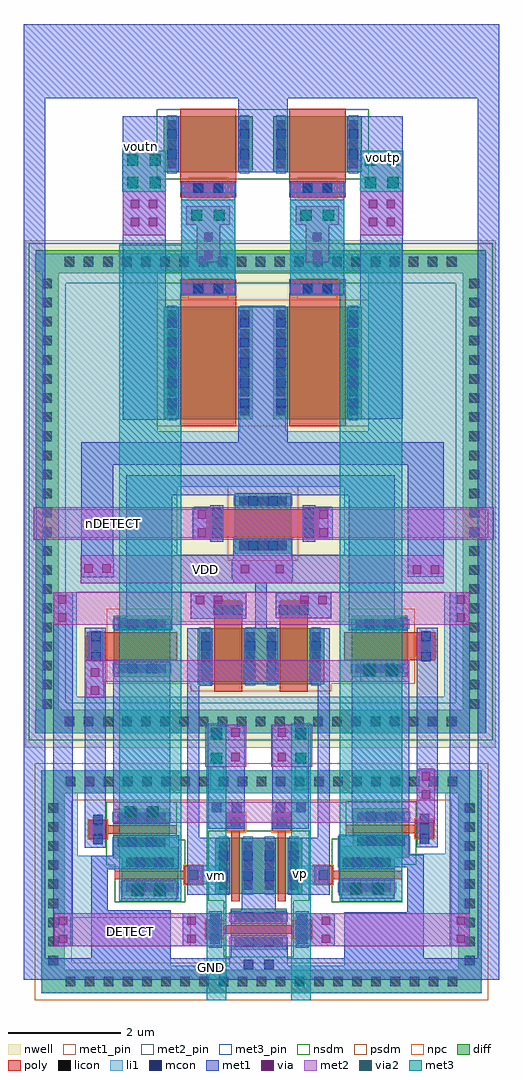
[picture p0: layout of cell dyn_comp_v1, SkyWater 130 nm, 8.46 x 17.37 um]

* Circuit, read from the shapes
.subckt dyn_comp_v1 DETECT GND VDD nDETECT vm voutn voutp vp
XM1 sky130_fd_pr__nfet_01v8_ML4XRG_6/D sky130_fd_pr__nfet_01v8_9ZWGZ9_1/D GND VSUBS sky130_fd_pr__nfet_01v8 w=1 l=0.15
XM2 GND sky130_fd_pr__pfet_01v8_KDZMJM_9/D sky130_fd_pr__nfet_01v8_ML4XRG_6/D VSUBS sky130_fd_pr__nfet_01v8 w=1 l=0.15
XM3 GND sky130_fd_pr__nfet_01v8_ML4XRG_6/D voutn VSUBS sky130_fd_pr__nfet_01v8 w=1 l=1
XM4 sky130_fd_pr__nfet_01v8_9ZWGZ9_2/D DETECT GND VSUBS sky130_fd_pr__nfet_01v8 w=1 l=0.15
XM5 sky130_fd_pr__nfet_01v8_9ZWGZ9_2/D vm sky130_fd_pr__pfet_01v8_KDZMJM_9/D VSUBS sky130_fd_pr__nfet_01v8 w=1 l=0.15
XM6 sky130_fd_pr__nfet_01v8_9ZWGZ9_3/D vp sky130_fd_pr__nfet_01v8_9ZWGZ9_2/D VSUBS sky130_fd_pr__nfet_01v8 w=1 l=0.15
XM7 voutp sky130_fd_pr__nfet_01v8_9ZWGZ9_1/D GND VSUBS sky130_fd_pr__nfet_01v8 w=1 l=1
XM8 GND sky130_fd_pr__nfet_01v8_9ZWGZ9_3/D sky130_fd_pr__nfet_01v8_9ZWGZ9_1/D VSUBS sky130_fd_pr__nfet_01v8 w=1 l=0.15
XM9 sky130_fd_pr__nfet_01v8_9ZWGZ9_1/D sky130_fd_pr__nfet_01v8_ML4XRG_6/D GND VSUBS sky130_fd_pr__nfet_01v8 w=1 l=0.15
XM10 sky130_fd_pr__pfet_01v8_KDZMJM_8/D sky130_fd_pr__nfet_01v8_9ZWGZ9_1/D sky130_fd_pr__nfet_01v8_ML4XRG_6/D n1 sky130_fd_pr__pfet_01v8 w=1 l=0.5
XM11 VDD sky130_fd_pr__nfet_01v8_ML4XRG_6/D voutn n1 sky130_fd_pr__pfet_01v8 w=2 l=1
XM12 VDD DETECT sky130_fd_pr__pfet_01v8_KDZMJM_9/D n1 sky130_fd_pr__pfet_01v8 w=1 l=0.5
XM13 sky130_fd_pr__pfet_01v8_KDZMJM_8/D nDETECT VDD n1 sky130_fd_pr__pfet_01v8 w=1 l=0.5
XM14 sky130_fd_pr__nfet_01v8_9ZWGZ9_3/D DETECT VDD n1 sky130_fd_pr__pfet_01v8 w=1 l=0.5
XM15 voutp sky130_fd_pr__nfet_01v8_9ZWGZ9_1/D VDD n1 sky130_fd_pr__pfet_01v8 w=2 l=1
XM16 sky130_fd_pr__pfet_01v8_KDZMJM_8/D sky130_fd_pr__nfet_01v8_ML4XRG_6/D sky130_fd_pr__nfet_01v8_9ZWGZ9_1/D n1 sky130_fd_pr__pfet_01v8 w=1 l=0.5
.ends

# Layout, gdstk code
from math import pi, radians
import gdstk
lib = gdstk.Library(unit=1e-6, precision=1e-09)
def R(c, l, rs):  # rectangles x0, y0, x1, y1
    for r in rs: c.add(gdstk.rectangle(r[:2], r[2:], *l))
def A(c, l, x, y, w, h, nx, ny, dx, dy):  # array of equal rectangles
    R(c, l, [(x+i*dx, y+j*dy, x+i*dx+w, y+j*dy+h) for i in range(nx) for j in range(ny)])
nwell = (64, 20)
diff = (65, 20)
poly = (66, 20)
licon = (66, 44)
li1 = (67, 20)
mcon = (67, 44)
met1_pin = (68, 16)
met1 = (68, 20)
via = (68, 44)
met2_pin = (69, 16)
met2 = (69, 20)
via2 = (69, 44)
met3_pin = (70, 16)
met3 = (70, 20)
nsdm = (93, 44)
psdm = (94, 20)
npc = (95, 20)

l1m1_cdns_776882829085 = lib.new_cell('L1M1_CDNS_776882829085')
R(l1m1_cdns_776882829085, li1, [(-0.265,-0.085,0.265,0.085)])
R(l1m1_cdns_776882829085, mcon, [(-0.265,-0.085,-0.095,0.085), (0.095,-0.085,0.265,0.085)])
R(l1m1_cdns_776882829085, met1, [(-0.325,-0.115,0.325,0.115)])

sky130_fd_pr__nfet_01v8_ = lib.new_cell('sky130_fd_pr__nfet_01v8_9ZAZEB')
R(sky130_fd_pr__nfet_01v8_, diff, [(-0.365,-0.5,0.365,0.5)])
R(sky130_fd_pr__nfet_01v8_, poly, [(-0.165,-0.94,0.165,-0.61), (-0.075,-0.61,0.075,0.61), (-0.165,0.61,0.165,0.94)])
A(sky130_fd_pr__nfet_01v8_, licon, -0.305, -0.425, 0.17, 0.17, 1, 3, 0, 0.34)
A(sky130_fd_pr__nfet_01v8_, licon, 0.135, -0.425, 0.17, 0.17, 1, 3, 0, 0.34)
R(sky130_fd_pr__nfet_01v8_, licon, [(-0.085,-0.86,0.085,-0.69), (-0.085,0.69,0.085,0.86)])
R(sky130_fd_pr__nfet_01v8_, li1, [(-0.165,-0.86,0.165,-0.69), (-0.305,-0.52,-0.135,0.52), (0.135,-0.52,0.305,0.52), (-0.165,0.69,0.165,0.86)])
R(sky130_fd_pr__nfet_01v8_, mcon, [(-0.305,-0.265,-0.135,-0.095), (0.135,-0.265,0.305,-0.095), (-0.305,0.095,-0.135,0.265), (0.135,0.095,0.305,0.265)])
R(sky130_fd_pr__nfet_01v8_, met1, [(-0.295,-1.355,0.285,-0.735), (-0.145,-0.89,0.145,-0.66), (-0.335,-0.5,-0.105,0.5), (0.105,-0.5,0.335,0.5), (-0.145,0.66,0.145,0.89), (-0.295,0.755,0.285,1.355)])
R(sky130_fd_pr__nfet_01v8_, nsdm, [(-0.49,-0.625,0.49,0.625)])
R(sky130_fd_pr__nfet_01v8_, npc, [(-0.185,-0.96,0.185,-0.59), (-0.185,0.59,0.185,0.96)])
sky130_fd_pr__nfet_01v8_.add(gdstk.Reference(l1m1_cdns_776882829085, (0,-0.775)))
sky130_fd_pr__nfet_01v8_.add(gdstk.Reference(l1m1_cdns_776882829085, (0,0.775)))
sky130_fd_pr__nfet_01v8_.add(gdstk.Label('G', (0,0.775), layer=67, texttype=5))
sky130_fd_pr__nfet_01v8_.add(gdstk.Label('S', (0.22,0), layer=67, texttype=5))
sky130_fd_pr__nfet_01v8_.add(gdstk.Label('D', (-0.22,0), layer=67, texttype=5))

c_sky130_fd_pr__nfet_01v8_ = lib.new_cell('sky130_fd_pr__nfet_01v8_9ZWGZ9')
R(c_sky130_fd_pr__nfet_01v8_, diff, [(-0.365,-0.655,0.365,0.345)])
R(c_sky130_fd_pr__nfet_01v8_, poly, [(-0.075,-0.785,0.075,0.455), (-0.165,0.455,0.165,0.785)])
A(c_sky130_fd_pr__nfet_01v8_, licon, -0.305, -0.58, 0.17, 0.17, 1, 3, 0, 0.34)
A(c_sky130_fd_pr__nfet_01v8_, licon, 0.135, -0.58, 0.17, 0.17, 1, 3, 0, 0.34)
R(c_sky130_fd_pr__nfet_01v8_, licon, [(-0.085,0.535,0.085,0.705)])
R(c_sky130_fd_pr__nfet_01v8_, li1, [(-0.305,-0.675,-0.135,0.365), (0.135,-0.675,0.305,0.365), (-0.165,0.535,0.165,0.705)])
R(c_sky130_fd_pr__nfet_01v8_, mcon, [(-0.305,-0.42,-0.135,-0.25), (0.135,-0.42,0.305,-0.25), (-0.305,-0.06,-0.135,0.11), (0.135,-0.06,0.305,0.11)])
R(c_sky130_fd_pr__nfet_01v8_, met1, [(-0.335,-0.655,-0.105,0.345), (0.105,-0.655,0.335,0.345), (-0.145,0.505,0.145,0.735)])
R(c_sky130_fd_pr__nfet_01v8_, nsdm, [(-0.49,-0.78,0.49,0.47)])
R(c_sky130_fd_pr__nfet_01v8_, npc, [(-0.185,0.435,0.185,0.805)])
c_sky130_fd_pr__nfet_01v8_.add(gdstk.Label('G', (0,0.62), layer=67, texttype=5))
c_sky130_fd_pr__nfet_01v8_.add(gdstk.Label('S', (0.22,-0.155), layer=67, texttype=5))
c_sky130_fd_pr__nfet_01v8_.add(gdstk.Label('D', (-0.22,-0.155), layer=67, texttype=5))

l1m1_cdns_776882829086 = lib.new_cell('L1M1_CDNS_776882829086')
R(l1m1_cdns_776882829086, li1, [(-0.085,-0.085,0.085,0.085)])
R(l1m1_cdns_776882829086, mcon, [(-0.085,-0.085,0.085,0.085)])
R(l1m1_cdns_776882829086, met1, [(-0.145,-0.115,0.145,0.115)])

c_sky130_fd_pr__nfet_01v8__ = lib.new_cell('sky130_fd_pr__nfet_01v8_ML4XRG')
R(c_sky130_fd_pr__nfet_01v8__, diff, [(-0.365,-0.345,0.365,0.655)])
R(c_sky130_fd_pr__nfet_01v8__, poly, [(-0.165,-0.785,0.165,-0.455), (-0.075,-0.455,0.075,0.785)])
A(c_sky130_fd_pr__nfet_01v8__, licon, -0.305, -0.27, 0.17, 0.17, 1, 3, 0, 0.34)
A(c_sky130_fd_pr__nfet_01v8__, licon, 0.135, -0.27, 0.17, 0.17, 1, 3, 0, 0.34)
R(c_sky130_fd_pr__nfet_01v8__, licon, [(-0.085,-0.705,0.085,-0.535)])
R(c_sky130_fd_pr__nfet_01v8__, li1, [(-0.165,-0.705,0.165,-0.535), (-0.305,-0.365,-0.135,0.675), (0.135,-0.365,0.305,0.675)])
R(c_sky130_fd_pr__nfet_01v8__, mcon, [(-0.305,-0.11,-0.135,0.06), (0.135,-0.11,0.305,0.06), (-0.305,0.25,-0.135,0.42), (0.135,0.25,0.305,0.42)])
R(c_sky130_fd_pr__nfet_01v8__, met1, [(-0.335,-0.345,-0.105,0.655), (0.105,-0.345,0.335,0.655)])
R(c_sky130_fd_pr__nfet_01v8__, nsdm, [(-0.49,-0.47,0.49,0.78)])
R(c_sky130_fd_pr__nfet_01v8__, npc, [(-0.185,-0.805,0.185,-0.435)])
c_sky130_fd_pr__nfet_01v8__.add(gdstk.Reference(l1m1_cdns_776882829086, (-0.18,-0.62)))
c_sky130_fd_pr__nfet_01v8__.add(gdstk.Reference(l1m1_cdns_776882829086, (0.18,-0.62)))
c_sky130_fd_pr__nfet_01v8__.add(gdstk.Label('G', (0,-0.62), layer=67, texttype=5))
c_sky130_fd_pr__nfet_01v8__.add(gdstk.Label('S', (0.22,0.155), layer=67, texttype=5))
c_sky130_fd_pr__nfet_01v8__.add(gdstk.Label('D', (-0.22,0.155), layer=67, texttype=5))

sky130_fd_pr__pfet_01v8_ = lib.new_cell('sky130_fd_pr__pfet_01v8_KDZMJM')
R(sky130_fd_pr__pfet_01v8_, nwell, [(-0.72,-0.99,0.72,0.82)])
R(sky130_fd_pr__pfet_01v8_, diff, [(-0.54,-0.68,0.54,0.32)])
R(sky130_fd_pr__pfet_01v8_, poly, [(-0.25,-0.81,0.25,0.805)])
A(sky130_fd_pr__pfet_01v8_, licon, -0.48, -0.605, 0.17, 0.17, 1, 3, 0, 0.34)
A(sky130_fd_pr__pfet_01v8_, licon, 0.31, -0.605, 0.17, 0.17, 1, 3, 0, 0.34)
R(sky130_fd_pr__pfet_01v8_, licon, [(-0.085,0.555,0.085,0.725)])
R(sky130_fd_pr__pfet_01v8_, li1, [(-0.48,-0.7,-0.31,0.34), (0.31,-0.7,0.48,0.34), (-0.25,0.555,0.25,0.725)])
R(sky130_fd_pr__pfet_01v8_, mcon, [(-0.48,-0.445,-0.31,-0.275), (0.31,-0.445,0.48,-0.275), (-0.48,-0.085,-0.31,0.085), (0.31,-0.085,0.48,0.085)])
R(sky130_fd_pr__pfet_01v8_, met1, [(-0.51,-0.68,-0.28,0.32), (0.28,-0.68,0.51,0.32), (-0.23,0.525,0.23,0.755)])
R(sky130_fd_pr__pfet_01v8_, psdm, [(-0.665,-0.805,0.665,0.445)])
R(sky130_fd_pr__pfet_01v8_, npc, [(-0.185,0.455,0.185,0.825)])
sky130_fd_pr__pfet_01v8_.add(gdstk.Reference(l1m1_cdns_776882829085, (0,0.64)))
sky130_fd_pr__pfet_01v8_.add(gdstk.Label('G', (0,0.64), layer=67, texttype=5))
sky130_fd_pr__pfet_01v8_.add(gdstk.Label('S', (0.395,-0.18), layer=67, texttype=5))
sky130_fd_pr__pfet_01v8_.add(gdstk.Label('D', (-0.395,-0.18), layer=67, texttype=5))

c_sky130_fd_pr__pfet_01v8_ = lib.new_cell('sky130_fd_pr__pfet_01v8_U2XPXD')
R(c_sky130_fd_pr__pfet_01v8_, nwell, [(-0.72,-1,0.72,1)])
R(c_sky130_fd_pr__pfet_01v8_, diff, [(-0.54,-0.5,0.54,0.5)])
R(c_sky130_fd_pr__pfet_01v8_, poly, [(-0.25,-0.985,0.25,0.985)])
A(c_sky130_fd_pr__pfet_01v8_, licon, -0.48, -0.425, 0.17, 0.17, 1, 3, 0, 0.34)
A(c_sky130_fd_pr__pfet_01v8_, licon, 0.31, -0.425, 0.17, 0.17, 1, 3, 0, 0.34)
R(c_sky130_fd_pr__pfet_01v8_, licon, [(-0.085,-0.905,0.085,-0.735), (-0.085,0.735,0.085,0.905)])
R(c_sky130_fd_pr__pfet_01v8_, li1, [(-0.25,-0.905,0.25,-0.735), (-0.48,-0.52,-0.31,0.52), (0.31,-0.52,0.48,0.52), (-0.25,0.735,0.25,0.905)])
R(c_sky130_fd_pr__pfet_01v8_, mcon, [(-0.48,-0.265,-0.31,-0.095), (0.31,-0.265,0.48,-0.095), (-0.48,0.095,-0.31,0.265), (0.31,0.095,0.48,0.265)])
R(c_sky130_fd_pr__pfet_01v8_, met1, [(-0.23,-0.935,0.23,-0.705), (-0.51,-0.5,-0.28,0.5), (0.28,-0.5,0.51,0.5)])
R(c_sky130_fd_pr__pfet_01v8_, psdm, [(-0.665,-0.625,0.665,0.625)])
R(c_sky130_fd_pr__pfet_01v8_, npc, [(-0.185,-1.005,0.185,-0.635), (-0.185,0.635,0.185,1.005)])
c_sky130_fd_pr__pfet_01v8_.add(gdstk.Reference(l1m1_cdns_776882829085, (0,-0.82)))
c_sky130_fd_pr__pfet_01v8_.add(gdstk.Reference(l1m1_cdns_776882829085, (0,0.82)))
c_sky130_fd_pr__pfet_01v8_.add(gdstk.Label('G', (0,0.82), layer=67, texttype=5))
c_sky130_fd_pr__pfet_01v8_.add(gdstk.Label('S', (0.395,0), layer=67, texttype=5))
c_sky130_fd_pr__pfet_01v8_.add(gdstk.Label('D', (-0.395,0), layer=67, texttype=5))

c_sky130_fd_pr__nfet_01v8___ = lib.new_cell('sky130_fd_pr__nfet_01v8_V52S8A')
R(c_sky130_fd_pr__nfet_01v8___, diff, [(-0.79,-0.655,0.79,0.345)])
R(c_sky130_fd_pr__nfet_01v8___, poly, [(-0.5,-0.785,0.5,0.785)])
A(c_sky130_fd_pr__nfet_01v8___, licon, -0.73, -0.58, 0.17, 0.17, 1, 3, 0, 0.34)
A(c_sky130_fd_pr__nfet_01v8___, licon, 0.56, -0.58, 0.17, 0.17, 1, 3, 0, 0.34)
R(c_sky130_fd_pr__nfet_01v8___, licon, [(-0.255,0.535,-0.085,0.705), (0.085,0.535,0.255,0.705)])
R(c_sky130_fd_pr__nfet_01v8___, li1, [(-0.73,-0.675,-0.56,0.365), (0.56,-0.675,0.73,0.365), (-0.5,0.535,0.5,0.705)])
R(c_sky130_fd_pr__nfet_01v8___, mcon, [(-0.73,-0.42,-0.56,-0.25), (0.56,-0.42,0.73,-0.25), (-0.73,-0.06,-0.56,0.11), (0.56,-0.06,0.73,0.11), (-0.265,0.535,-0.095,0.705), (0.095,0.535,0.265,0.705)])
R(c_sky130_fd_pr__nfet_01v8___, met1, [(-0.76,-0.655,-0.53,0.345), (0.53,-0.655,0.76,0.345), (-0.48,0.505,0.48,0.735)])
R(c_sky130_fd_pr__nfet_01v8___, nsdm, [(-0.915,-0.78,0.915,0.47)])
R(c_sky130_fd_pr__nfet_01v8___, npc, [(-0.355,0.435,0.355,0.805)])
c_sky130_fd_pr__nfet_01v8___.add(gdstk.Label('G', (0,0.62), layer=67, texttype=5))
c_sky130_fd_pr__nfet_01v8___.add(gdstk.Label('S', (0.645,-0.155), layer=67, texttype=5))
c_sky130_fd_pr__nfet_01v8___.add(gdstk.Label('D', (-0.645,-0.155), layer=67, texttype=5))

c_sky130_fd_pr__pfet_01v8__ = lib.new_cell('sky130_fd_pr__pfet_01v8_D48SMA')
R(c_sky130_fd_pr__pfet_01v8__, nwell, [(-0.97,-1.32,0.97,1.49)])
R(c_sky130_fd_pr__pfet_01v8__, diff, [(-0.79,-0.82,0.79,1.18)])
R(c_sky130_fd_pr__pfet_01v8__, poly, [(-0.5,-1.305,0.5,1.31)])
A(c_sky130_fd_pr__pfet_01v8__, licon, -0.73, -0.755, 0.17, 0.17, 1, 6, 0, 0.34)
A(c_sky130_fd_pr__pfet_01v8__, licon, 0.56, -0.755, 0.17, 0.17, 1, 6, 0, 0.34)
R(c_sky130_fd_pr__pfet_01v8__, licon, [(-0.255,-1.225,-0.085,-1.055), (0.085,-1.225,0.255,-1.055)])
R(c_sky130_fd_pr__pfet_01v8__, li1, [(-0.5,-1.225,0.5,-1.055), (-0.73,-0.84,-0.56,1.2), (0.56,-0.84,0.73,1.2)])
A(c_sky130_fd_pr__pfet_01v8__, mcon, -0.73, -0.625, 0.17, 0.17, 1, 5, 0, 0.36)
A(c_sky130_fd_pr__pfet_01v8__, mcon, 0.56, -0.625, 0.17, 0.17, 1, 5, 0, 0.36)
R(c_sky130_fd_pr__pfet_01v8__, mcon, [(-0.265,-1.225,-0.095,-1.055), (0.095,-1.225,0.265,-1.055)])
R(c_sky130_fd_pr__pfet_01v8__, met1, [(-0.48,-1.255,0.48,-1.025), (-0.76,-0.82,-0.53,1.18), (0.53,-0.82,0.76,1.18)])
R(c_sky130_fd_pr__pfet_01v8__, psdm, [(-0.915,-0.945,0.915,1.305)])
R(c_sky130_fd_pr__pfet_01v8__, npc, [(-0.355,-1.325,0.355,-0.955)])
c_sky130_fd_pr__pfet_01v8__.add(gdstk.Label('G', (0,-1.14), layer=67, texttype=5))
c_sky130_fd_pr__pfet_01v8__.add(gdstk.Label('S', (0.645,0.18), layer=67, texttype=5))
c_sky130_fd_pr__pfet_01v8__.add(gdstk.Label('D', (-0.645,0.18), layer=67, texttype=5))

m1m2_cdns_776882829080 = lib.new_cell('M1M2_CDNS_776882829080')
R(m1m2_cdns_776882829080, met1, [(-0.32,-0.29,0.32,0.29)])
R(m1m2_cdns_776882829080, via, [(-0.235,-0.235,-0.085,-0.085), (0.085,-0.235,0.235,-0.085), (-0.235,0.085,-0.085,0.235), (0.085,0.085,0.235,0.235)])
R(m1m2_cdns_776882829080, met2, [(-0.32,-0.29,0.32,0.29)])

m2m3_cdns_776882829081 = lib.new_cell('M2M3_CDNS_776882829081')
R(m2m3_cdns_776882829081, met2, [(-0.385,-0.365,0.385,0.365)])
R(m2m3_cdns_776882829081, via2, [(-0.3,-0.3,-0.1,-0.1), (0.1,-0.3,0.3,-0.1), (-0.3,0.1,-0.1,0.3), (0.1,0.1,0.3,0.3)])
R(m2m3_cdns_776882829081, met3, [(-0.385,-0.365,0.385,0.365)])

m1m2_cdns_776882829082 = lib.new_cell('M1M2_CDNS_776882829082')
R(m1m2_cdns_776882829082, met1, [(-0.16,-0.29,0.16,0.29)])
R(m1m2_cdns_776882829082, via, [(-0.075,-0.235,0.075,-0.085), (-0.075,0.085,0.075,0.235)])
R(m1m2_cdns_776882829082, met2, [(-0.16,-0.29,0.16,0.29)])

m1m2_cdns_776882829083 = lib.new_cell('M1M2_CDNS_776882829083')
R(m1m2_cdns_776882829083, met1, [(-0.32,-0.13,0.32,0.13)])
R(m1m2_cdns_776882829083, via, [(-0.235,-0.075,-0.085,0.075), (0.085,-0.075,0.235,0.075)])
R(m1m2_cdns_776882829083, met2, [(-0.32,-0.13,0.32,0.13)])

m2m3_cdns_776882829084 = lib.new_cell('M2M3_CDNS_776882829084')
R(m2m3_cdns_776882829084, met2, [(-0.385,-0.165,0.385,0.165)])
R(m2m3_cdns_776882829084, via2, [(-0.3,-0.1,-0.1,0.1), (0.1,-0.1,0.3,0.1)])
R(m2m3_cdns_776882829084, met3, [(-0.385,-0.165,0.385,0.165)])

dyn_comp_v1 = lib.new_cell('dyn_comp_v1')
R(dyn_comp_v1, nwell, [(0.03,4.285,8.4,13.32)])
R(dyn_comp_v1, diff, [(0.32,-0.075,0.625,0.315), (0.625,-0.075,7.835,0.335), (7.835,-0.075,8.14,0.32), (7.73,0.145,8.14,3.505), (0.32,0.165,0.73,3.505), (3.905,1.69,4.455,1.97), (3.915,1.97,4.455,2.67), (5.645,2.21,6.605,2.33), (1.595,2.32,2.745,2.53), (5.645,2.33,6.855,2.39), (5.605,2.39,6.855,2.49), (5.605,2.49,5.855,2.54), (5.855,2.56,6.815,2.66), (4.075,2.67,4.305,2.69), (0.32,3.48,8.14,3.89), (0.32,3.505,0.685,3.88), (7.795,3.505,8.14,3.88), (0.21,4.55,8.21,4.96), (7.81,4.55,8.22,13.07), (0.21,4.855,0.62,13.07), (3.915,5.415,4.525,6.415), (3.125,6.005,3.245,6.255), (0.21,12.73,8.22,13.14)])
R(dyn_comp_v1, poly, [(2.935,1.86,3.185,2.19), (5.165,1.86,5.415,2.19), (1.155,2.67,1.455,3), (1.155,5.835,1.405,6.345)])
A(dyn_comp_v1, licon, 0.745, 0.045, 0.17, 0.17, 21, 2, 0.34, 3.555)
A(dyn_comp_v1, licon, 0.44, 0.415, 0.17, 0.17, 1, 9, 0, 0.34)
A(dyn_comp_v1, licon, 7.85, 0.415, 0.17, 0.17, 1, 9, 0, 0.34)
A(dyn_comp_v1, licon, 0.73, 4.67, 0.17, 0.17, 21, 2, 0.34, 8.18)
A(dyn_comp_v1, licon, 0.33, 4.985, 0.17, 0.17, 1, 23, 0, 0.34)
A(dyn_comp_v1, licon, 7.93, 4.985, 0.17, 0.17, 1, 23, 0, 0.34)
R(dyn_comp_v1, li1, [(0.315,-0.08,0.585,3.885), (0.44,-0.08,8.145,0.41), (7.945,-0.075,8.145,3.885), (0.44,0.045,8.02,0.35), (0.44,0.255,2.615,1.4), (3.66,0.265,4.7,0.79), (5.705,0.315,8.02,1.36), (3.74,0.79,4.7,0.895), (4.41,0.895,4.7,0.92), (6.825,1.36,8.02,2.16), (0.44,1.4,1.495,2.16), (2.935,1.86,3.55,2.19), (4.725,1.86,5.415,2.19), (7.495,2.05,8.02,3.595), (0.44,2.16,2.095,2.33), (2.555,2.16,2.765,2.33), (5.585,2.16,5.865,2.21), (6.605,2.16,8.02,2.21), (5.585,2.21,8.02,2.405), (5.585,2.285,6.875,2.56), (1.575,2.315,2.765,2.53), (0.44,2.33,2.765,2.37), (0.44,2.355,0.965,3.545), (1.575,2.53,1.765,2.57), (2.555,2.53,2.765,2.7), (5.585,2.56,6.815,2.66), (1.235,2.57,1.405,3.1), (7.045,2.58,7.215,2.85), (7.045,2.58,7.215,3.11), (5.585,2.66,5.865,2.71), (3.605,2.88,3.935,3.31), (4.425,2.88,4.755,3.31), (1.705,3.01,2.495,3.14), (0.44,3.48,8.02,3.76), (0.315,3.635,8.145,3.885), (0.44,3.76,8.01,3.775), (0.205,4.545,8.225,4.965), (7.815,4.545,8.225,13.075), (0.33,4.67,8.1,5.195), (0.33,5.195,0.945,7.055), (7.485,5.195,8.1,7.055), (3.125,5.395,3.295,5.585), (3.125,5.585,3.325,6.415), (1.155,5.83,1.405,6.36), (7.07,5.83,7.24,6.36), (1.155,5.835,1.405,6.345), (3.125,6.415,3.305,6.435), (0.33,7.055,8.1,7.725), (0.33,7.725,2.735,8.935), (3.725,7.725,4.775,8.015), (5.705,7.725,8.1,8.935), (3,8.015,3.52,8.545), (4.99,8.015,5.42,8.545), (0.33,8.935,8.1,9.915), (0.33,9.915,2.385,12.78), (3.845,9.915,4.665,12.155), (6.125,9.915,8.1,12.78), (0.205,12.765,8.225,13.075), (0.33,12.78,8.1,12.95)])
R(dyn_comp_v1, mcon, [(3.915,0.35,4.085,0.52), (4.275,0.35,4.445,0.52)])
R(dyn_comp_v1, met1_pin, [(3.3,0.3,3.38,0.44)])
R(dyn_comp_v1, met1, [(0,0.16,8.46,0.54), (5.705,0.285,7.115,1.36), (3.68,0.33,4.7,0.74), (8.075,0.35,8.46,15.845), (1.205,0.375,2.615,1.4), (0,0.4,0.385,15.845), (4.41,0.74,4.7,0.92), (0.525,0.76,0.875,6.555), (7.575,0.76,7.935,7.055), (2.83,0.89,3.52,1.22), (4.845,0.89,5.535,1.22), (6.825,1.36,7.115,2.16), (3.875,1.37,4.485,2.69), (1.205,1.4,1.495,2.16), (1.745,1.59,2.745,1.89), (5.645,1.61,6.585,1.93), (2.905,1.67,3.665,2.69), (4.695,1.67,5.445,2.69), (1.205,2.13,2.095,2.33), (1.595,2.13,2.765,2.73), (5.605,2.13,5.885,2.21), (2.555,2.16,2.765,2.33), (6.605,2.16,7.115,2.21), (2.305,2.19,2.405,2.33), (5.605,2.21,7.115,2.38), (5.605,2.315,6.855,2.56), (1.595,2.32,2.765,2.53), (1.205,2.33,2.765,2.37), (1.085,2.51,1.455,6.42), (6.995,2.52,7.365,6.42), (2.165,2.53,2.265,2.66), (2.555,2.53,2.765,2.73), (5.235,2.545,5.445,6.015), (5.605,2.56,6.815,2.66), (2.905,2.59,3.125,5.395), (5.605,2.66,5.885,2.74), (3.285,2.85,3.935,4.695), (3.605,2.85,3.935,4.695), (4.425,2.85,5.075,4.695), (4.425,2.85,5.075,3.34), (4.425,2.85,4.755,4.695), (1.595,3.015,2.605,5.815), (5.835,3.03,6.855,5.845), (3.285,3.11,3.935,4.695), (2.905,5.395,3.355,5.705), (3.915,5.415,4.525,6.415), (2.905,5.705,3.125,6.005), (2.905,6.005,3.245,6.255), (5.105,6.015,5.445,6.255), (2.905,6.255,3.125,6.415), (5.235,6.255,5.445,6.415), (1.825,6.375,2.645,8.95), (5.785,6.375,6.605,8.875), (4.115,6.415,4.325,7.215), (0.525,6.555,0.875,7.055), (2.975,6.585,3.96,7.05), (3.395,6.585,3.875,6.905), (4.48,6.595,5.475,7.05), (4.565,6.595,5.045,6.915), (3.725,7.215,4.775,7.285), (3.705,7.285,4.79,7.645), (1.02,7.32,1.595,9.325), (6.835,7.33,7.475,9.325), (3.725,7.645,4.775,8.015), (3.03,7.985,3.55,8.575), (4.96,7.985,5.48,8.575), (1.825,8.78,6.605,9.14), (1.02,9.325,7.475,9.725), (3.815,9.725,4.695,12.135), (1.765,10.125,2.525,15.525), (5.985,10.135,6.425,10.145), (5.985,10.145,6.745,15.525), (2.805,12.335,3.765,14.36), (4.745,12.34,5.705,14.35), (3.815,14.525,4.695,15.845), (2.085,15.505,2.525,15.525), (0,15.845,8.46,17.165)])
R(dyn_comp_v1, via, [(1.99,1.675,2.14,1.825), (2.31,1.675,2.46,1.825), (5.88,1.695,6.03,1.845), (6.2,1.695,6.35,1.845), (1.865,3.065,2.015,3.215), (2.185,3.065,2.335,3.215), (3.695,4.045,3.845,4.195), (4.515,4.045,4.665,4.195), (3.695,4.485,3.845,4.635), (4.515,4.485,4.665,4.635), (6.11,5.58,6.26,5.73), (6.43,5.58,6.58,5.73), (3.865,7.39,4.015,7.54), (4.48,7.39,4.63,7.54)])
R(dyn_comp_v1, met2_pin, [(0.825,0.76,2.97,1.27), (1.405,5.465,5.995,5.845), (1.015,7.215,7.475,7.715), (0.37,8.025,8.265,8.535), (1.765,13.41,2.525,14.91), (5.985,13.41,6.755,14.91)])
R(dyn_comp_v1, met2, [(0.54,0.76,7.925,1.34), (1.735,1.56,2.715,1.59), (1.735,1.59,2.725,1.89), (5.625,1.59,6.605,1.97), (1.735,1.89,2.715,1.93), (1.595,2.95,7.315,3.33), (3.23,3.95,3.955,4.695), (4.405,3.95,5.13,4.695), (1.085,5.465,6.855,5.845), (0.605,6.475,7.935,7.055), (1.015,7.215,7.475,7.715), (1.895,7.33,7.475,7.715), (0.175,7.99,8.365,8.57), (3.075,12.925,3.495,13.925), (5.015,12.925,5.435,13.925), (1.765,13.41,2.525,14.91), (5.985,13.41,6.755,14.91)])
R(dyn_comp_v1, via2, [(1.925,1.65,2.125,1.85), (2.325,1.65,2.525,1.85), (5.805,1.68,6.005,1.88), (6.205,1.68,6.405,1.88), (1.8,3.05,2,3.25), (2.2,3.05,2.4,3.25), (3.33,4,3.53,4.2), (4.83,4,5.03,4.2), (3.33,4.44,3.53,4.64), (4.83,4.44,5.03,4.64), (6.05,5.565,6.25,5.765), (6.45,5.565,6.65,5.765)])
R(dyn_comp_v1, met3_pin, [(4.825,3.535,5.04,3.95), (3.315,3.54,3.57,3.95)])
R(dyn_comp_v1, met3, [(3.255,-0.2,3.605,4.725), (4.755,-0.2,5.105,4.725), (1.695,1.56,2.805,12.82), (5.625,1.56,6.735,12.615), (1.695,12.615,3.765,13.235), (4.745,12.615,6.735,13.255), (2.805,13.235,3.765,14.035), (4.745,13.255,5.705,14.035)])
R(dyn_comp_v1, nsdm, [(3.555,1.545,4.805,1.565), (3.78,1.565,4.58,2.095), (5.52,2.085,6.73,2.205), (3.79,2.095,4.58,2.795), (1.47,2.195,2.87,2.655), (5.52,2.205,6.98,2.265), (5.48,2.265,6.98,2.615), (5.48,2.615,6.94,2.665), (5.73,2.665,6.94,2.785), (3.95,2.795,4.43,2.815), (0.085,4.425,8.345,5.085), (0.085,4.965,0.745,12.655), (7.685,4.965,8.345,12.655), (0.085,12.55,8.345,13.265), (4.2,14.4,4.31,15.65)])
R(dyn_comp_v1, psdm, [(0.195,-0.2,8.265,0.46), (0.195,0.34,0.855,3.885), (7.605,0.34,8.265,3.885), (0.195,3.355,8.265,4.015), (3.79,5.29,4.65,6.54), (2.73,5.43,2.97,6.54), (5.47,5.43,5.71,6.54), (3,5.88,3.37,6.38), (4.2,10.01,4.31,12.26)])
dyn_comp_v1.add(gdstk.Reference(sky130_fd_pr__nfet_01v8_, (4.18,1.055), rotation=pi/2))
dyn_comp_v1.add(gdstk.Reference(c_sky130_fd_pr__nfet_01v8_, (5.95,2.025), rotation=pi/2))
dyn_comp_v1.add(gdstk.Reference(c_sky130_fd_pr__nfet_01v8_, (3.77,2.345), rotation=pi, x_reflection=True))
dyn_comp_v1.add(gdstk.Reference(c_sky130_fd_pr__nfet_01v8_, (4.59,2.345), rotation=pi, x_reflection=True))
dyn_comp_v1.add(gdstk.Reference(c_sky130_fd_pr__nfet_01v8_, (2.4,2.025), rotation=3*pi/2))
dyn_comp_v1.add(gdstk.Reference(c_sky130_fd_pr__nfet_01v8__, (6.51,2.845), rotation=pi/2))
dyn_comp_v1.add(gdstk.Reference(c_sky130_fd_pr__nfet_01v8__, (1.94,2.835), rotation=3*pi/2))
dyn_comp_v1.add(gdstk.Reference(sky130_fd_pr__pfet_01v8_, (4.805,6.095)))
dyn_comp_v1.add(gdstk.Reference(sky130_fd_pr__pfet_01v8_, (6.515,6.095), rotation=3*pi/2))
dyn_comp_v1.add(gdstk.Reference(sky130_fd_pr__pfet_01v8_, (3.635,6.095)))
dyn_comp_v1.add(gdstk.Reference(sky130_fd_pr__pfet_01v8_, (1.925,6.095), rotation=pi/2))
dyn_comp_v1.add(gdstk.Reference(c_sky130_fd_pr__pfet_01v8_, (4.255,8.28), rotation=pi/2))
dyn_comp_v1.add(gdstk.Reference(c_sky130_fd_pr__nfet_01v8___, (3.285,14.87), x_reflection=True))
dyn_comp_v1.add(gdstk.Reference(c_sky130_fd_pr__nfet_01v8___, (5.225,14.87), x_reflection=True))
dyn_comp_v1.add(gdstk.Reference(c_sky130_fd_pr__pfet_01v8__, (5.225,11.315), rotation=pi))
dyn_comp_v1.add(gdstk.Reference(c_sky130_fd_pr__pfet_01v8__, (3.285,11.315), x_reflection=True))
dyn_comp_v1.add(gdstk.Reference(m1m2_cdns_776882829080, (2.14,13.805)))
dyn_comp_v1.add(gdstk.Reference(m1m2_cdns_776882829080, (6.37,13.805)))
dyn_comp_v1.add(gdstk.Reference(m2m3_cdns_776882829081, (6.37,14.545)))
dyn_comp_v1.add(gdstk.Reference(m2m3_cdns_776882829081, (2.14,14.545)))
dyn_comp_v1.add(gdstk.Reference(m1m2_cdns_776882829082, (1.27,5.465)))
dyn_comp_v1.add(gdstk.Reference(m1m2_cdns_776882829082, (3.285,13.215)))
dyn_comp_v1.add(gdstk.Reference(m1m2_cdns_776882829082, (5.22,13.215)))
dyn_comp_v1.add(gdstk.Reference(m1m2_cdns_776882829082, (7.155,3.62)))
dyn_comp_v1.add(gdstk.Reference(m1m2_cdns_776882829082, (2.985,1.05)))
dyn_comp_v1.add(gdstk.Reference(m1m2_cdns_776882829082, (5.375,1.05)))
dyn_comp_v1.add(gdstk.Reference(m1m2_cdns_776882829082, (0.7,1.05)))
dyn_comp_v1.add(gdstk.Reference(m1m2_cdns_776882829082, (7.775,1.05)))
dyn_comp_v1.add(gdstk.Reference(m1m2_cdns_776882829082, (0.685,6.765)))
dyn_comp_v1.add(gdstk.Reference(m1m2_cdns_776882829082, (7.775,6.765)))
dyn_comp_v1.add(gdstk.Reference(m1m2_cdns_776882829082, (5.335,8.28)))
dyn_comp_v1.add(gdstk.Reference(m1m2_cdns_776882829082, (3.175,8.28)))
dyn_comp_v1.add(gdstk.Reference(m1m2_cdns_776882829082, (1.31,7.48), rotation=pi/2))
dyn_comp_v1.add(gdstk.Reference(m1m2_cdns_776882829083, (3.295,6.92)))
dyn_comp_v1.add(gdstk.Reference(m1m2_cdns_776882829083, (5.155,6.92)))
dyn_comp_v1.add(gdstk.Reference(m1m2_cdns_776882829083, (7.155,7.46)))
dyn_comp_v1.add(gdstk.Reference(m2m3_cdns_776882829084, (5.22,13.76)))
dyn_comp_v1.add(gdstk.Reference(m2m3_cdns_776882829084, (3.28,13.76)))
dyn_comp_v1.add(gdstk.Reference(l1m1_cdns_776882829085, (3.61,3.225)))
dyn_comp_v1.add(gdstk.Reference(l1m1_cdns_776882829085, (4.75,3.225)))
dyn_comp_v1.add(gdstk.Label('VDD', (3.225,7.465), layer=69, texttype=5))
dyn_comp_v1.add(gdstk.Label('nDETECT', (1.59,8.28), layer=69, texttype=5))
dyn_comp_v1.add(gdstk.Label('DETECT', (1.897,1.015), layer=69, texttype=5))
dyn_comp_v1.add(gdstk.Label('GND', (3.34,0.37), layer=68, texttype=5))
dyn_comp_v1.add(gdstk.Label('voutn', (2.09,14.99), layer=68, texttype=5))
dyn_comp_v1.add(gdstk.Label('voutp', (6.4,14.79), layer=68, texttype=5))
dyn_comp_v1.add(gdstk.Label('vm', (3.43,2.023), layer=70, texttype=5))
dyn_comp_v1.add(gdstk.Label('vp', (4.93,2.045), layer=70, texttype=5))

lib.write_gds('dyn_comp_v1.gds')
